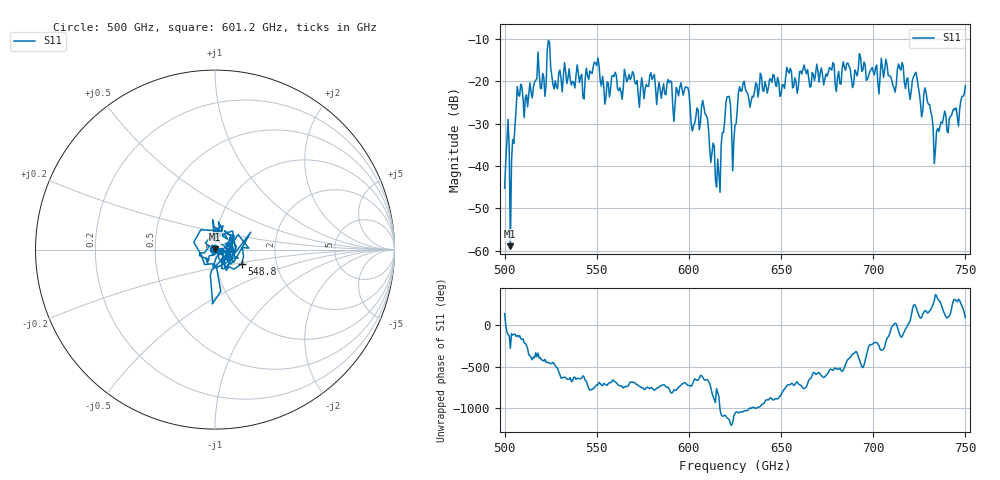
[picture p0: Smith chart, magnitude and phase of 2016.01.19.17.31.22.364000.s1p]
!Created with skrf (http://scikit-rf.org).
# GHz S RI R 50.0
!freq ReS11 ImS11
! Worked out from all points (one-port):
!   401 points, 500 GHz to 750 GHz, reference 50 ohm
!   lowest |S11| = -59.0 dB at 503.1 GHz (marker M1), VSWR 1.00, Z = 50 + j0.112 ohm
!   |S11| at or under -10 dB: start of sweep to end of sweep
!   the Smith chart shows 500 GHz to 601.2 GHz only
!   S11 on the Smith chart (normalised r, x): 500 GHz: 0.99, +0.01; 548.8 GHz: 1.33, -0.22; 601.2 GHz: 1.06, -0.02
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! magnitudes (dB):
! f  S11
! 500 GHz  -45.3
! 501.2 GHz  -34.0
! 503.1 GHz  -59.0
! 504.4 GHz  -33.8
! 505.6 GHz  -30.6
! 508.1 GHz  -23.5
! 521.2 GHz  -19.0
! 524.4 GHz  -10.8
! 527.5 GHz  -19.9
! 531.2 GHz  -22.5
! 548.8 GHz  -15.5
! 562.5 GHz  -21.5
! 593.8 GHz  -22.2
! 598.8 GHz  -21.4
! 601.2 GHz  -30.2
! 608.8 GHz  -27.7
! 615.6 GHz  -38.4
! 621.2 GHz  -23.6
! 625 GHz  -30.4
! 628.8 GHz  -22.3
! 656.2 GHz  -21.6
! 687.5 GHz  -17.1
! 711.2 GHz  -21.5
! 715 GHz  -17.4
! 718.8 GHz  -19.2
! 728.8 GHz  -22.9
! 734.4 GHz  -31.7
! 750 GHz  -21.1
